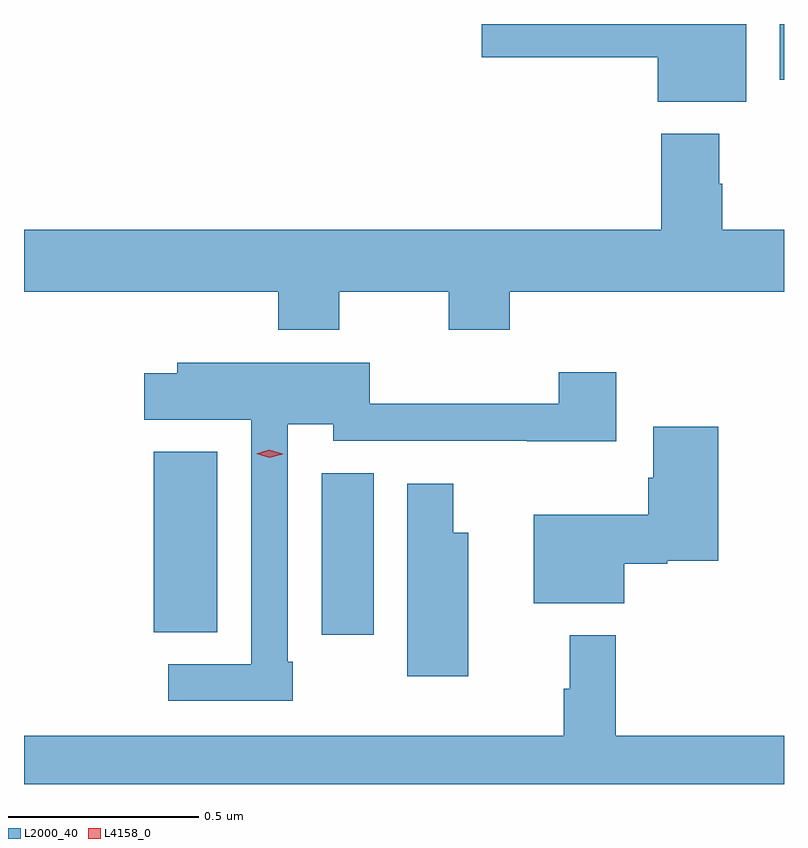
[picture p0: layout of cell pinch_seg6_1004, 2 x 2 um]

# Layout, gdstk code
import gdstk
lib = gdstk.Library(unit=1e-6, precision=1e-09)
def R(c, l, rs):  # rectangles x0, y0, x1, y1
    for r in rs: c.add(gdstk.rectangle(r[:2], r[2:], *l))
def P(c, l, *ps):  # polygons
    for p in ps: c.add(gdstk.Polygon(p, *l))
L2000_40 = (2000, 40)
L4158_0 = (4158, 0)

pinch_seg6_1004 = lib.new_cell('pinch_seg6_1004')
R(pinch_seg6_1004, L2000_40, [(256.157,946.434,256.294,946.859), (255.716,946.441,255.883,946.915), (257.363,947.894,257.374,948.041)])
P(pinch_seg6_1004, L2000_40, [(257.275,948.041),(256.578,948.041),(256.578,947.953),(257.042,947.953),(257.042,947.837),(257.275,947.837)],
  [(256.203,947.336),(256.492,947.336),(256.492,947.237),(256.652,947.237),(256.652,947.336),(257.374,947.336),(257.374,947.5),(257.211,947.5),(257.211,947.621),(257.203,947.621),(257.203,947.752),(257.051,947.752),(257.051,947.5),(255.374,947.5),(255.374,947.336),(256.043,947.336),(256.043,947.237),(256.203,947.237)],
  [(256.081,946.363),(256.068,946.363),(256.068,946.988),(256.188,946.988),(256.188,946.944),(256.697,946.944),(256.697,946.943),(256.933,946.943),(256.933,947.125),(256.781,947.125),(256.781,947.042),(256.284,947.042),(256.284,947.149),(255.777,947.149),(255.777,947.122),(255.69,947.122),(255.69,947),(255.972,947),(255.972,946.356),(255.753,946.356),(255.753,946.26),(256.081,946.26)],
  [(256.954,946.621),(257.067,946.621),(257.067,946.628),(257.201,946.628),(257.201,946.981),(257.03,946.981),(257.03,946.847),(257.017,946.847),(257.017,946.75),(256.715,946.75),(256.715,946.517),(256.954,946.517)],
  [(256.543,946.702),(256.504,946.702),(256.504,946.831),(256.382,946.831),(256.382,946.325),(256.543,946.325)],
  [(257.374,946.168),(256.931,946.168),(256.931,946.432),(256.81,946.432),(256.81,946.292),(256.795,946.292),(256.795,946.168),(255.374,946.168),(255.374,946.041),(257.374,946.041)])
P(pinch_seg6_1004, L4158_0, [(256.02,946.9),(255.985,946.91),(255.985,946.91),(255.985,946.91),(256.02,946.92),(256.055,946.91),(256.055,946.909),(256.055,946.909)])

lib.write_gds('pinch_seg6_1004.gds')
